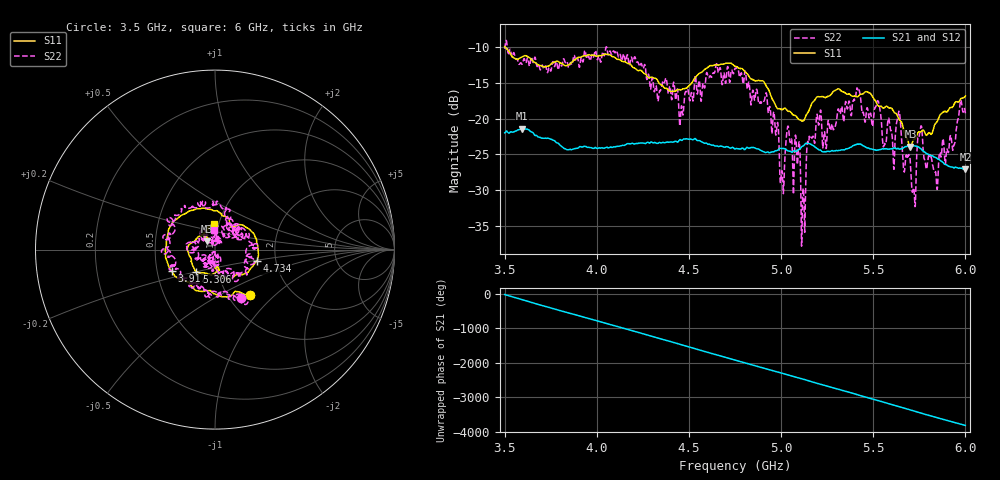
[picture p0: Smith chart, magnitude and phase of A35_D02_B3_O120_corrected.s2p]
! Created with skrf 1.9.0 (http://scikit-rf.org).
# Hz S RI R 50.0
!freq ReS11 ImS11 ReS21 ImS21 ReS12 ImS12 ReS22 ImS22
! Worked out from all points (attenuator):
!   1601 points, 3.5 GHz to 6 GHz, reference 50 ohm
!   highest |S21| = -21.43 dB at 3.594 GHz (marker M1); lowest = -27.1 dB at 6 GHz (marker M2)
!   lowest |S11| = -23.9 dB at 5.702 GHz (marker M3), VSWR 1.14, Z = 45.7 + j4.28 ohm
!   |S11| at or under -10 dB: 3.503 GHz to end of sweep
!   |S22| runs from -37.8 to -9.1 dB; largest |S21 - S12| = 0.001
!   S11 on the Smith chart (normalised r, x): 3.5 GHz: 1.27, -0.71; 3.917 GHz: 0.60, -0.15; 4.734 GHz: 1.58, -0.22; 5.306 GHz: 0.79, -0.20; 6 GHz: 0.95, +0.28
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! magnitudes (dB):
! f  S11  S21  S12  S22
! 3.5 GHz  -9.9  -22.0  -22.0  -10.3
! 3.594 GHz  -11.4  -21.4  -21.4  -12.4
! 3.917 GHz  -11.4  -24.0  -24.0  -11.5
! 4.334 GHz  -14.9  -23.4  -23.4  -17.3
! 4.458 GHz  -16.0  -23.0  -23.0  -18.5
! 4.734 GHz  -12.4  -24.0  -24.0  -13.4
! 4.75 GHz  -12.7  -24.3  -24.2  -13.0
! 4.927 GHz  -15.7  -24.7  -24.7  -18.1
! 5.005 GHz  -18.7  -24.2  -24.2  -27.3
! 5.036 GHz  -19.0  -24.5  -24.4  -21.1
! 5.089 GHz  -19.9  -24.4  -24.4  -26.3
! 5.12 GHz  -20.3  -23.8  -23.8  -29.7
! 5.167 GHz  -17.9  -23.7  -23.6  -22.8
! 5.306 GHz  -15.9  -24.5  -24.4  -19.1
! 5.417 GHz  -16.9  -23.6  -23.6  -16.1
! 5.584 GHz  -18.5  -24.3  -24.2  -19.9
! 5.639 GHz  -20.1  -24.2  -24.2  -19.0
! 5.702 GHz  -23.9  -23.8  -23.8  -26.3
! 5.72 GHz  -22.9  -23.8  -23.8  -29.7
! 5.755 GHz  -21.9  -24.2  -24.1  -21.5
! 5.841 GHz  -20.6  -25.5  -25.4  -28.0
! 6 GHz  -16.9  -27.1  -27.0  -19.3
